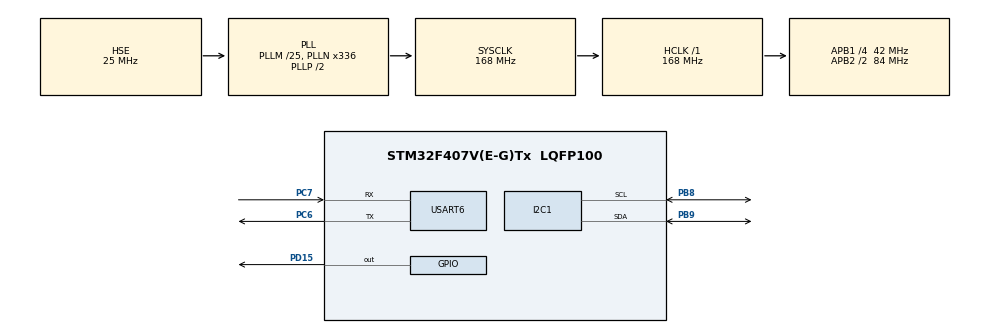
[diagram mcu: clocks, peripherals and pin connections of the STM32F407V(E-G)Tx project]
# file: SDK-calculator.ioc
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Mcu.Family=STM32F4
RCC.PLLSourceVirtual=RCC_PLLSOURCE_HSE
PH0-OSC_IN.Signal=RCC_OSC_IN
RCC.CortexFreq_Value=168000000
PC6.Signal=USART6_TX
RCC.APB1CLKDivider=RCC_HCLK_DIV4
RCC.SYSCLKSource=RCC_SYSCLKSOURCE_PLLCLK
ProjectManager.StackSize=0x400
PA13.Signal=SYS_JTMS-SWDIO
PD13.Signal=S_TIM4_CH2
ProjectManager.TargetToolchain=STM32CubeIDE
PC6.Mode=Asynchronous
RCC.HCLKFreq_Value=168000000
SH.S_TIM4_CH3.0=TIM4_CH3
PB9.Mode=I2C
RCC.APB2TimFreq_Value=168000000
PC7.Signal=USART6_RX
RCC.LSE_VALUE=32768
RCC.AHBFreq_Value=168000000
PH0-OSC_IN.Mode=HSE-External-Oscillator
RCC.HSE_VALUE=25000000
PB3.Mode=JTAG_5_pins
board=custom
RCC.VCOOutputFreq_Value=336000000
PA15.Mode=JTAG_5_pins
RCC.APB2Freq_Value=84000000
PB4.Mode=JTAG_5_pins
PA14.Mode=JTAG_5_pins
PH1-OSC_OUT.Signal=RCC_OSC_OUT
SH.S_TIM4_CH2.0=TIM4_CH2
PA13.Mode=JTAG_5_pins
Mcu.Name=STM32F407V(E-G)Tx
PD14.Signal=S_TIM4_CH3
PH1-OSC_OUT.Mode=HSE-External-Oscillator
RCC.48MHZClocksFreq_Value=84000000
PB3.Signal=SYS_JTDO-SWO
RCC.SYSCLKFreq_VALUE=168000000
Mcu.Package=LQFP100
PB9.Signal=I2C1_SDA
USART6.VirtualMode=VM_ASYNC
PA14.Signal=SYS_JTCK-SWCLK
PA15.Signal=SYS_JTDI
ProjectManager.HeapSize=0x200
USART6.HwFlowCtl-Asynchronous=UART_HWCONTROL_NONE
RCC.HSI_VALUE=16000000
NVIC.PriorityGroup=NVIC_PRIORITYGROUP_4
RCC.APB2CLKDivider=RCC_HCLK_DIV2
RCC.PLLM=25
PB8.Mode=I2C
RCC.PLLN=336
RCC.APB1TimFreq_Value=84000000
PB8.Signal=I2C1_SCL
PC7.Mode=Asynchronous
RCC.APB1Freq_Value=42000000
PD15.Signal=GPIO_Output
PB4.Signal=SYS_JTRST

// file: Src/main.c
/* USER CODE BEGIN Header */
/**
  ******************************************************************************
  * @file           : main.c
  * @brief          : Main program body
  ******************************************************************************
  * @attention
  *
  * <h2><center>&copy; Copyright (c) 2019 STMicroelectronics.
  * All rights reserved.</center></h2>
  *
  * This software component is licensed by ST under BSD 3-Clause license,
  * the "License"; You may not use this file except in compliance with the
  * License. You may obtain a copy of the License at:
  *                        opensource.org/licenses/BSD-3-Clause
  *
  ******************************************************************************
  */
/* USER CODE END Header */
#include "main.h"
#include "i2c.h"
#include "usart.h"
#include "gpio.h"

/* USER CODE BEGIN Includes */
#include "kb.h"
#include "sdk_uart.h"
#include "pca9538.h"
#include "oled.h"
#include "fonts.h"
/* USER CODE END Includes */

/* USER CODE BEGIN PTD */
typedef int operator( const int, const int );

int add( const int arg1, const int arg2 ) {
	return arg1 + arg2;
}

int mul( const int arg1, const int arg2 ) {
	return arg1 * arg2;
}

int sub( const int arg1, const int arg2 ) {
	return arg1 - arg2;
}
/* USER CODE END PTD */

/* USER CODE BEGIN PD */
#define ROW1 0x1E
#define ROW2 0x3D
#define ROW3 0x7B
#define ROW4 0xF7
/* USER CODE END PD */

/* USER CODE BEGIN PV */
enum BTNS {
	ONE = 0,
	TWO,
	THREE,
	FOUR,
	FIVE,
	SIX,
	SEVEN,
	EIGHT,
	NINE,
	ZERO,
	OPCODE,
	EQUAL,
	NONE
};

const static enum BTNS btns[][3] = {
		{ ONE, TWO, THREE     },
		{ FOUR, FIVE, SIX     },
		{ SEVEN, EIGHT, NINE  },
		{ OPCODE, ZERO, EQUAL }
};

const static char btns2chars[] = {
		[ ONE ] = '1',
		[ TWO ] = '2',
		[ THREE ] = '3',
		[ FOUR ] = '4',
		[ FIVE ] = '5',
		[ SIX ] = '6',
		[ SEVEN ] = '7',
		[ EIGHT ] = '8',
		[ NINE ] = '9',
		[ ZERO ] = '0',
		[ OPCODE ] = '+',
		[ EQUAL ] = '='
};

enum OPCODES {
		OP_ADD,
		OP_SUB,
		OP_MUL
};

const static const char op2char[] = {
		[ OP_ADD ] = '+',
		[ OP_SUB ] = '-',
		[ OP_MUL ] = 'x'
};

const static char btns2ints[] = {
		[ ONE ] = 1,
		[ TWO ] = 2,
		[ THREE ] = 3,
		[ FOUR ] = 4,
		[ FIVE ] = 5,
		[ SIX ] = 6,
		[ SEVEN ] = 7,
		[ EIGHT ] = 8,
		[ NINE ] = 9,
		[ ZERO ] = 0,
};

const static operator* operators[] = {
		[ OP_ADD ] = add,
		[ OP_SUB ] = sub,
		[ OP_MUL ] = mul
};

const static uint8_t delay = 10;
const static uint8_t rows[] = { ROW1, ROW2, ROW3, ROW4 };
/* USER CODE END PV */

void SystemClock_Config(void);
/* USER CODE BEGIN PFP */
void KB_Test( void );
void OLED_KB( uint8_t OLED_Keys[]);
void oled_Reset( void );

enum BTNS KB_GetBtn() {
	for ( size_t i = 0; i < 4; ++i ) {
		// убираем дребезг
		uint8_t OldKey = Check_Row( rows[i] );
		HAL_Delay( delay );
		uint8_t Key = Check_Row( rows[i] );
		Key = OldKey & Key & 0b111;
		if ( Key > 0 ) {
			uint8_t left, centre, right;
			left   = ( Key >> 2 ) & 1;
			centre = ( Key >> 1 ) & 1;
			right  = ( Key >> 0 ) & 1;
			if ( left )
				return btns[ i ][ 0 ];
			else if ( centre )
				return btns[ i ][ 1 ];
			else if ( right )
				return btns[ i ][ 2 ];
		}
	}
	return NONE;
}

int get3DigitNumber() {
	int arg = 0;
	enum BTNS pressed = NONE;
  int numLength = 0;
  do {
	  pressed = KB_GetBtn();
	  if ( pressed == NONE )
		  continue;
	  if ( pressed != EQUAL && pressed != OPCODE ) {
		  oled_WriteChar( btns2chars[ pressed ], Font_16x26, White );
		  oled_UpdateScreen();
		  arg = arg * 10 + btns2ints[ pressed ];
		  numLength++;
		  HAL_Delay( delay );
	  }

	  if ( numLength > 0 && pressed == EQUAL )
		  return arg;
  } while ( numLength < 3 );
  return arg;
}
/* USER CODE END PFP */

int main(void)
{

  /* MCU Configuration--------------------------------------------------------*/

  /* Reset of all peripherals, Initializes the Flash interface and the Systick. */
  HAL_Init();

  /* Configure the system clock */
  SystemClock_Config();

  /* Initialize all configured peripherals */
  MX_GPIO_Init();
  MX_I2C1_Init();
  MX_USART6_UART_Init();
  /* USER CODE BEGIN 2 */
  oled_Init();
  /* USER CODE END 2 */
  /* Infinite loop */
  while (1)
  {
    /* USER CODE BEGIN 3 */
	// KB_Test();
	  oled_WriteString( "Enter first:", Font_7x10, White );
	  oled_UpdateScreen();
	  HAL_Delay( delay );
	  oled_SetCursor( 0, 11 );
	  int arg1 = get3DigitNumber();
	  oled_Reset();
	  oled_WriteString( "Enter second:", Font_7x10, White );
	  oled_UpdateScreen();
	  HAL_Delay( delay );
	  oled_SetCursor( 0, 11 );
	  int arg2 = get3DigitNumber();
	  oled_Reset();
	  oled_WriteString( "Switch operator:", Font_7x10, White );
	  oled_UpdateScreen();
	  HAL_Delay( delay );
	  oled_SetCursor( 0, 11 );
	  enum BTNS pressed = NONE;
	  enum OPCODES op = OP_MUL;
	  do {
		  pressed = KB_GetBtn();
		  if ( pressed == OPCODE ) {
			  op = ( op + 1 ) % 3;
			  oled_Reset();
			  oled_WriteString( "Switch operator:", Font_7x10, White );
			  oled_UpdateScreen();
			  HAL_Delay( delay );
			  oled_SetCursor( 55, 22 );
			  oled_WriteChar( op2char[ op ], Font_16x26, White );
			  oled_UpdateScreen();
		  }
	  } while ( pressed != EQUAL );
	  oled_Reset();
	  oled_WriteString( "Result:", Font_7x10, White );
	  oled_UpdateScreen();
	  HAL_Delay( delay );
	  oled_SetCursor( 0, 11 );
	  int result = operators[ op ]( arg1, arg2 );
	  char buffer[ 7 ];
	  itoa( result, buffer, 10 );
	  oled_WriteString( buffer, Font_16x26, White );
	  oled_UpdateScreen();
	  while( KB_GetBtn() != EQUAL );
	  oled_Reset();
  }
  /* USER CODE END 3 */
}

void SystemClock_Config(void)
{
  RCC_OscInitTypeDef RCC_OscInitStruct = {0};
  RCC_ClkInitTypeDef RCC_ClkInitStruct = {0};

  /** Configure the main internal regulator output voltage
  */
  __HAL_RCC_PWR_CLK_ENABLE();
  __HAL_PWR_VOLTAGESCALING_CONFIG(PWR_REGULATOR_VOLTAGE_SCALE1);
  /** Initializes the RCC Oscillators according to the specified parameters
  * in the RCC_OscInitTypeDef structure.
  */
  RCC_OscInitStruct.OscillatorType = RCC_OSCILLATORTYPE_HSE;
  RCC_OscInitStruct.HSEState = RCC_HSE_ON;
  RCC_OscInitStruct.PLL.PLLState = RCC_PLL_ON;
  RCC_OscInitStruct.PLL.PLLSource = RCC_PLLSOURCE_HSE;
  RCC_OscInitStruct.PLL.PLLM = 25;
  RCC_OscInitStruct.PLL.PLLN = 336;
  RCC_OscInitStruct.PLL.PLLP = RCC_PLLP_DIV2;
  RCC_OscInitStruct.PLL.PLLQ = 4;
  if (HAL_RCC_OscConfig(&RCC_OscInitStruct) != HAL_OK)
  {
    Error_Handler();
  }
  /** Initializes the CPU, AHB and APB buses clocks
  */
  RCC_ClkInitStruct.ClockType = RCC_CLOCKTYPE_HCLK|RCC_CLOCKTYPE_SYSCLK
                              |RCC_CLOCKTYPE_PCLK1|RCC_CLOCKTYPE_PCLK2;
  RCC_ClkInitStruct.SYSCLKSource = RCC_SYSCLKSOURCE_PLLCLK;
  RCC_ClkInitStruct.AHBCLKDivider = RCC_SYSCLK_DIV1;
  RCC_ClkInitStruct.APB1CLKDivider = RCC_HCLK_DIV4;
  RCC_ClkInitStruct.APB2CLKDivider = RCC_HCLK_DIV2;

  if (HAL_RCC_ClockConfig(&RCC_ClkInitStruct, FLASH_LATENCY_5) != HAL_OK)
  {
    Error_Handler();
  }
}

/* USER CODE BEGIN 4 */
void KB_Test( void ) {
	UART_Transmit( (uint8_t*)"KB test start\n" );
	uint8_t R = 0, C = 0, L = 0, Row[4] = {0xF7, 0x7B, 0x3D, 0x1E}, Key, OldKey, OLED_Keys[12] = {0x30,0x30,0x30,0x30,0x30,0x30,0x30,0x30,0x30,0x30,0x30,0x30};
	oled_Reset();
	oled_WriteString("From bottom to top", Font_7x10, White);
	OLED_KB(OLED_Keys);
	oled_UpdateScreen();
	for ( int i = 0; i < 4; i++ ) {
		while( !( R && C && L ) ) {
			OldKey = Key;
			Key = Check_Row( Row[i] );
			if ( Key == 0x01 && Key != OldKey) {
				UART_Transmit( (uint8_t*)"Right pressed\n" );
				R = 1;
				OLED_Keys[2+3*i] = 0x31;
				OLED_KB(OLED_Keys);
			} else if ( Key == 0x02 && Key != OldKey) {
				UART_Transmit( (uint8_t*)"Center pressed\n" );
				C = 1;
				OLED_Keys[1+3*i] = 0x31;
				OLED_KB(OLED_Keys);
			} else if ( Key == 0x04 && Key != OldKey) {
				UART_Transmit( (uint8_t*)"Left pressed\n" );
				L = 1;
				OLED_Keys[3*i] = 0x31;
				OLED_KB(OLED_Keys);
			}
		}
		R = C = L = 0;
		HAL_Delay(25);
	}
	UART_Transmit( (uint8_t*)"KB test complete\n");
}
void OLED_KB( uint8_t OLED_Keys[12]) {
	for (int i = 3; i >= 0; i--) {
		oled_SetCursor(56, 5+(4-i)*10);
		for (int j = 0; j < 3; j++) {
			oled_WriteChar(OLED_Keys[j+3*i], Font_7x10, White);
		}
	}
	oled_UpdateScreen();
}
void oled_Reset( void ) {
	oled_Fill(Black);
	oled_SetCursor(0, 0);
	oled_UpdateScreen();
}
/* USER CODE END 4 */

void Error_Handler(void)
{
}

/************************ (C) COPYRIGHT STMicroelectronics *****END OF FILE****/
